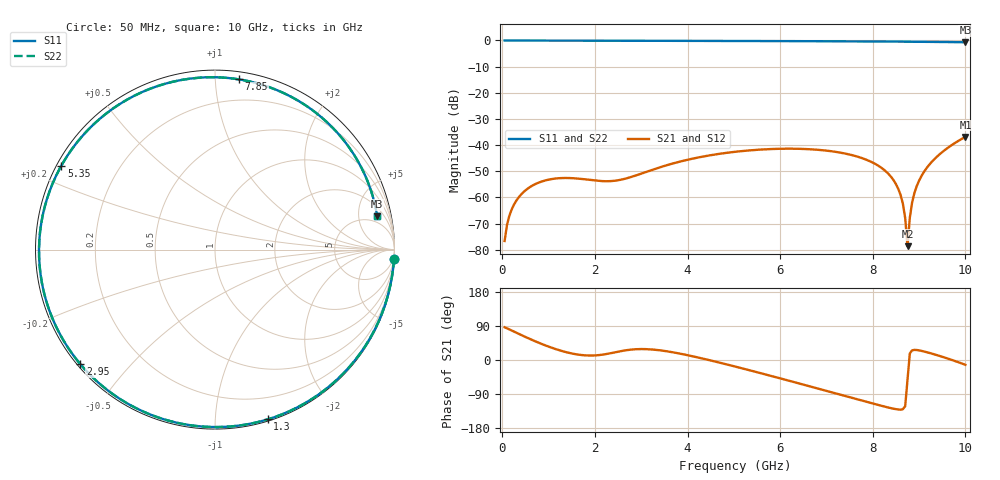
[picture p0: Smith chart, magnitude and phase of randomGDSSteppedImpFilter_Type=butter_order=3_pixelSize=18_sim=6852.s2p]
! freq	dB(S11)	phase(S11)	dB(S12)	phase(S12)
!  dB(S21)	phase(S21)	dB(S22)	phase(S22)
!S-par simulation data
#  GHz  S  DB  R 50
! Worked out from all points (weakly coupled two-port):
!   200 points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, 50 MHz to 10 GHz, reference 50 ohm
!   highest |S21| = -36.85 dB at 10 GHz (marker M1); lowest = -78.6 dB at 8.75 GHz (marker M2)
!   lowest |S11| = -0.7 dB at 10 GHz (marker M3), VSWR 24.84, Z = 169 + j423 ohm
!   |S11| at or under -10 dB: nowhere
!   |S22| runs from -0.7 to 0.0 dB; largest |S21 - S12| = 0
!   S11 on the Smith chart (normalised r, x): 50 MHz: 1, -39; 1.3 GHz: 0.01, -1.36; 2.95 GHz: 0.01, -0.37; 5.35 GHz: 0.01, +0.26; 7.85 GHz: 0.05, +1.15; 10 GHz: 3.38, +8.46
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0.05  -0.01 -2.9  -76.63 86.4  -76.63 86.4  -0.01 -2.9
0.15  -0.02 -8.9  -67.14 80.9  -67.14 80.9  -0.02 -8.9
0.4  -0.04 -23.7  -58.99 66.4  -58.99 66.4  -0.04 -23.7
0.8  -0.06 -46.5  -54.22 44.8  -54.22 44.8  -0.06 -46.5
1.3  -0.08 -72.7  -52.57 23.3  -52.57 23.3  -0.08 -72.7
1.75  -0.10 -93.8  -53.00 12.6  -53.00 12.6  -0.10 -93.8
2.95  -0.13 -139.7  -51.19 28.8  -51.19 28.8  -0.13 -139.7
3.4  -0.14 -154.1  -48.49 25.7  -48.49 25.7  -0.14 -154.1
5.05  -0.20 159.3  -42.50 -17.9  -42.50 -17.9  -0.20 159.3
5.35  -0.22 151.4  -41.99 -27.4  -41.99 -27.4  -0.22 151.3
6.7  -0.29 115.0  -41.63 -71.5  -41.63 -71.5  -0.29 115.0
7.85  -0.37 82.0  -45.50 -109.9  -45.50 -109.9  -0.38 82.0
8.35  -0.42 66.7  -51.20 -125.9  -51.20 -125.9  -0.42 66.6
8.55  -0.45 60.4  -56.67 -130.7  -56.67 -130.7  -0.45 60.3
8.65  -0.46 57.2  -62.34 -129.8  -62.34 -129.8  -0.46 57.1
8.7  -0.46 55.6  -67.89 -121.9  -67.89 -121.9  -0.46 55.5
8.75  -0.47 54.0  -78.60 -53.4  -78.60 -53.4  -0.47 53.9
8.8  -0.48 52.4  -67.70 17.4  -67.70 17.4  -0.48 52.3
8.85  -0.48 50.7  -61.86 25.6  -61.86 25.6  -0.48 50.7
9.05  -0.51 44.2  -51.84 24.1  -51.84 24.1  -0.51 44.1
9.4  -0.57 32.4  -44.17 12.3  -44.17 12.3  -0.57 32.4
10  -0.70 11.7  -36.85 -12.7  -36.85 -12.7  -0.70 11.6
